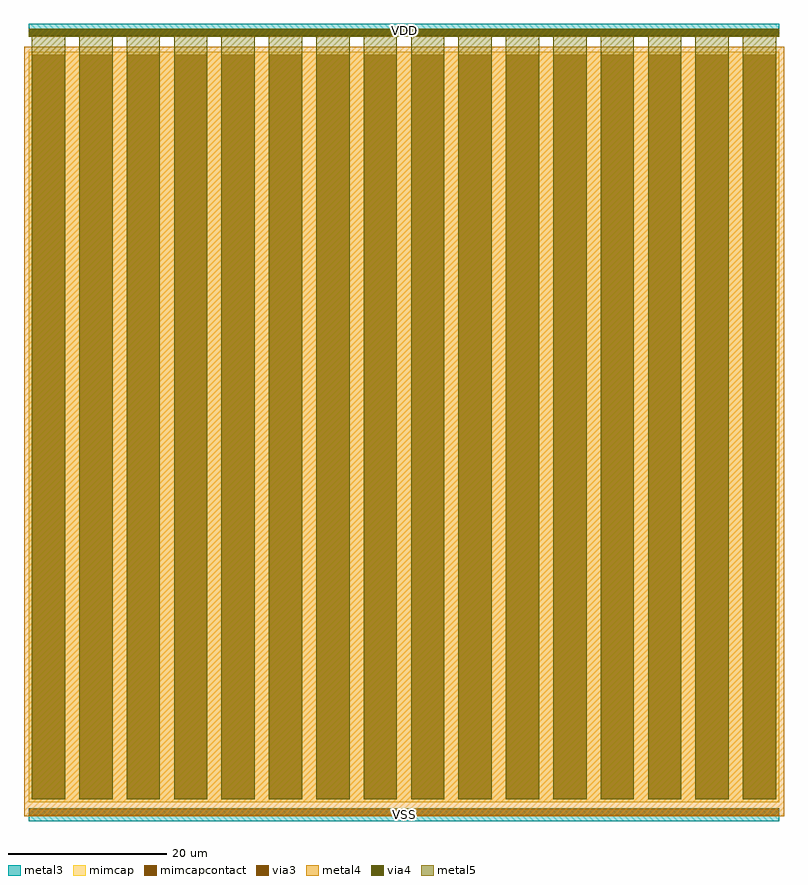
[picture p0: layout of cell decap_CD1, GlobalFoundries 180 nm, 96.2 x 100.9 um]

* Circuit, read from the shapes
.subckt decap_CD1 VDD VSS
XC1 VDD VSS cap_mim_2f0fF c_width=95u c_length=95u
.ends

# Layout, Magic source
magic
tech gf180mcuD
magscale 1 10
<< metal3 >>
rect 0 -340 19000 -160
rect 0 19380 19000 19580
rect 0 19380 19000 19700
rect 0 19380 19000 19700
rect 0 -480 19000 -160
rect 0 -480 19000 -160
<< metal4 >>
rect -120 -360 19120 19120
rect 0 -340 19000 -160
rect 0 19380 19000 19580
rect 0 19380 19000 19580
<< mimcap >>
rect 0 0 19000 19000
<< metal5 >>
rect 78 78 922 19480
rect 1278 78 2122 19480
rect 2478 78 3322 19480
rect 3678 78 4522 19480
rect 4878 78 5722 19480
rect 6078 78 6922 19480
rect 7278 78 8122 19480
rect 8478 78 9322 19480
rect 9678 78 10522 19480
rect 10878 78 11722 19480
rect 12078 78 12922 19480
rect 13278 78 14122 19480
rect 14478 78 15322 19480
rect 15678 78 16522 19480
rect 16878 78 17722 19480
rect 18078 78 18922 19480
rect 0 19380 19000 19580
rect 0 19380 19000 19580
<< via3 >>
rect 10 -330 18990 -170
rect 10 19390 18990 19570
<< via4 >>
rect 10 19390 18990 19570
<< mimcapcontact >>
rect 78 78 922 18922
rect 1278 78 2122 18922
rect 2478 78 3322 18922
rect 3678 78 4522 18922
rect 4878 78 5722 18922
rect 6078 78 6922 18922
rect 7278 78 8122 18922
rect 8478 78 9322 18922
rect 9678 78 10522 18922
rect 10878 78 11722 18922
rect 12078 78 12922 18922
rect 13278 78 14122 18922
rect 14478 78 15322 18922
rect 15678 78 16522 18922
rect 16878 78 17722 18922
rect 18078 78 18922 18922
<< labels >>
flabel metal3 s 0 19380 19000 19700 0 FreeSans 80 0 0 0 VDD
port 1 nsew signal bidirectional
flabel metal3 s 0 -480 19000 -160 0 FreeSans 80 0 0 0 VSS
port 2 nsew signal bidirectional
<< end >>
